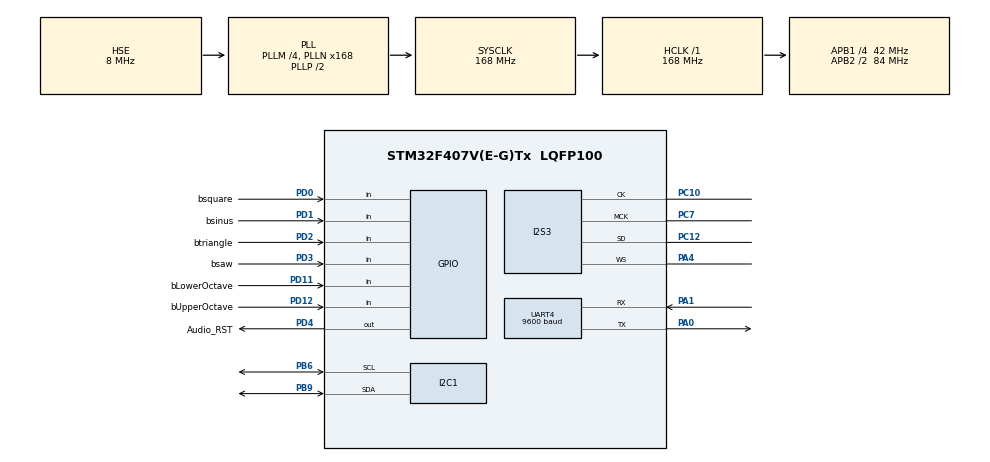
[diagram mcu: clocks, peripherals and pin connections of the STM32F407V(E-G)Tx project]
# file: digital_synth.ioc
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Dma.Request0=SPI3_TX
Dma.SPI3_TX.0.Direction=DMA_MEMORY_TO_PERIPH
Dma.SPI3_TX.0.FIFOMode=DMA_FIFOMODE_ENABLE
Dma.SPI3_TX.0.FIFOThreshold=DMA_FIFO_THRESHOLD_FULL
Dma.SPI3_TX.0.Instance=DMA1_Stream5
Dma.SPI3_TX.0.MemBurst=DMA_MBURST_SINGLE
Dma.SPI3_TX.0.MemDataAlignment=DMA_MDATAALIGN_HALFWORD
Dma.SPI3_TX.0.MemInc=DMA_MINC_ENABLE
Dma.SPI3_TX.0.Mode=DMA_CIRCULAR
Dma.SPI3_TX.0.PeriphBurst=DMA_PBURST_SINGLE
Dma.SPI3_TX.0.PeriphDataAlignment=DMA_PDATAALIGN_HALFWORD
Dma.SPI3_TX.0.PeriphInc=DMA_PINC_DISABLE
Dma.SPI3_TX.0.Priority=DMA_PRIORITY_HIGH
I2C1.I2C_Mode=I2C_Fast
I2S3.AudioFreq=I2S_AUDIOFREQ_48K
I2S3.ErrorAudioFreq=1.72 %
I2S3.FullDuplexMode=I2S_FULLDUPLEXMODE_DISABLE
I2S3.Instance=SPI$Index
I2S3.RealAudioFreq=48.828 KHz
I2S3.VirtualMode=I2S_MODE_MASTER
Mcu.Family=STM32F4
Mcu.Name=STM32F407V(E-G)Tx
Mcu.Package=LQFP100
NVIC.DMA1_Stream5_IRQn=true\:0\:0\:false\:false\:true\:false\:true\:true
NVIC.PriorityGroup=NVIC_PRIORITYGROUP_0
NVIC.UART4_IRQn=true\:0\:0\:false\:false\:true\:true\:true\:true
PA0-WKUP.Mode=Asynchronous
PA0-WKUP.Signal=UART4_TX
PA1.Mode=Asynchronous
PA1.Signal=UART4_RX
PA4.Mode=Half_Duplex_Master
PA4.Signal=I2S3_WS
PB6.Mode=I2C
PB6.Signal=I2C1_SCL
PB9.Mode=I2C
PB9.Signal=I2C1_SDA
PC10.Mode=Half_Duplex_Master
PC10.Signal=I2S3_CK
PC12.Mode=Half_Duplex_Master
PC12.Signal=I2S3_SD
PC7.Mode=Master_Clock_Activated
PC7.Signal=I2S3_MCK
PD0.GPIO_Label=bsquare
PD0.GPIO_PuPd=GPIO_PULLDOWN
PD0.Signal=GPIO_Input
PD1.GPIO_Label=bsinus
PD1.GPIO_PuPd=GPIO_PULLDOWN
PD1.Signal=GPIO_Input
PD11.GPIO_Label=bLowerOctave
PD11.GPIO_PuPd=GPIO_PULLDOWN
PD11.Signal=GPIO_Input
PD12.GPIO_Label=bUpperOctave
PD12.GPIO_PuPd=GPIO_PULLDOWN
PD12.Signal=GPIO_Input
PD2.GPIO_Label=btriangle
PD2.GPIO_PuPd=GPIO_PULLDOWN
PD2.Signal=GPIO_Input
PD3.GPIO_Label=bsaw
PD3.GPIO_PuPd=GPIO_PULLDOWN
PD3.Signal=GPIO_Input
PD4.GPIO_Label=Audio_RST
PD4.Signal=GPIO_Output
PH0-OSC_IN.Mode=HSE-External-Oscillator
PH0-OSC_IN.Signal=RCC_OSC_IN
PH1-OSC_OUT.Mode=HSE-External-Oscillator
PH1-OSC_OUT.Signal=RCC_OSC_OUT
ProjectManager.HeapSize=0x200
ProjectManager.StackSize=0x400
ProjectManager.TargetToolchain=STM32CubeIDE
RCC.48MHZClocksFreq_Value=48000000
RCC.AHBFreq_Value=168000000
RCC.APB1CLKDivider=RCC_HCLK_DIV4
RCC.APB1Freq_Value=42000000
RCC.APB1TimFreq_Value=84000000
RCC.APB2CLKDivider=RCC_HCLK_DIV2
RCC.APB2Freq_Value=84000000
RCC.APB2TimFreq_Value=168000000
RCC.CortexFreq_Value=168000000
RCC.HCLKFreq_Value=168000000
RCC.HSE_VALUE=8000000
RCC.HSI_VALUE=16000000
RCC.LSE_VALUE=32768
RCC.PLLI2SN=50
RCC.PLLM=4
RCC.PLLN=168
RCC.PLLQ=7
RCC.PLLSourceVirtual=RCC_PLLSOURCE_HSE
RCC.SYSCLKFreq_VALUE=168000000
RCC.SYSCLKSource=RCC_SYSCLKSOURCE_PLLCLK
RCC.VCOOutputFreq_Value=336000000
UART4.BaudRate=9600
UART4.VirtualMode=Asynchronous
board=STM32F407G-DISC1

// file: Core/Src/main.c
/* USER CODE BEGIN Header */
/**
  ******************************************************************************
  * @file           : main.c
  * @brief          : Main program body
  ******************************************************************************
  */
/* USER CODE END Header */
#include "main.h"

/* USER CODE BEGIN Includes */
#include <string.h>
#include <stdio.h>
#include <math.h>
#include "MY_CS43L22.h"
/* USER CODE END Includes */

/* USER CODE BEGIN PD */
#define NUMBER_OF_FRAMES_PER_HALF 32  // 32 samples (left+right) for each call
#define TOTAL_BUFFER_SIZE (NUMBER_OF_FRAMES_PER_HALF * 2 * 2) // 32 frames * 2 (L/R) * 2 (halves) = 128 values
#define WAVE_AMPLITUDE 16000
#define PIPI 6.2831853
#define LUT_BITS 12
#define SAMPLE_NUMBER_LUT (1 << LUT_BITS) // can hear a small harmonic distortion for value < 4096 => maybe something to improve
#define FP_SHIFT_AMOUNT (32 - LUT_BITS)
/* USER CODE END PD */

I2C_HandleTypeDef hi2c1;

I2S_HandleTypeDef hi2s3;
DMA_HandleTypeDef hdma_spi3_tx;

UART_HandleTypeDef huart4;

/* USER CODE BEGIN PV */
static int16_t dmaAudioBuffer[TOTAL_BUFFER_SIZE]; // double buffering --> we modify one half while the other half is being processed by the DMA (= automatically enable circucal mode)
Oscillator_t osc1;

/* USER CODE END PV */

void SystemClock_Config(void);
static void MX_GPIO_Init(void);
static void MX_DMA_Init(void);
static void MX_UART4_Init(void);
static void MX_I2C1_Init(void);
static void MX_I2S3_Init(void);

/* USER CODE BEGIN 0 */

// used for debugging to print values on pc console with uart
int __io_putchar(int ch)
{
	HAL_UART_Transmit(&huart4, (uint8_t*) &ch, 1, HAL_MAX_DELAY);
	return ch;
}

Waveform_t getUserWaveform(void)
{
    if (HAL_GPIO_ReadPin(bsinus_GPIO_Port, bsinus_Pin))
    {
    	return SINUS;
    }
    else if (HAL_GPIO_ReadPin(btriangle_GPIO_Port, btriangle_Pin))
    {
    	return TRIANGLE;
    }
    else if (HAL_GPIO_ReadPin(bsaw_GPIO_Port, bsaw_Pin))
    {
    	return SAWTOOTH;
    }
    else if (HAL_GPIO_ReadPin(bsquare_GPIO_Port, bsquare_Pin))
    {
    	return SQUARE;
    }
    else
    {
    	return NONE;
    }
}

uint32_t computePhaseIncrement(float wantedWaveFrequency, I2S_HandleTypeDef *hi2s){
	return (uint32_t)(((double)wantedWaveFrequency / (double)hi2s->Init.AudioFreq) * 4294967296.0); // 4294967296.0 = 2^32
}

void feedDMAAudioBuffer(int16_t *buffer, uint16_t num_frames){
	const float antipopFactor = 0.001;
	uint8_t noteButtonPressed = HAL_GPIO_ReadPin(bLowerOctave_GPIO_Port, bLowerOctave_Pin) || HAL_GPIO_ReadPin(bUpperOctave_GPIO_Port, bUpperOctave_Pin);

	for(uint16_t i = 0; i < num_frames; i++){
		if(noteButtonPressed){
			if(osc1.volume <= 1.0){
				osc1.volume += antipopFactor;
			}
			else{
				osc1.volume = 1.0;
			}
		}
		else{
			if(osc1.volume > 0.0){
				osc1.volume -= antipopFactor;
			}
			else{
				osc1.volume = 0.0;
			}
		}

		buffer[2*i] = osc1.activeLookupTable[osc1.phase >> FP_SHIFT_AMOUNT] * osc1.volume;
		buffer[2*i+1] = osc1.activeLookupTable[osc1.phase >> FP_SHIFT_AMOUNT] * osc1.volume;

		osc1.phase += osc1.phaseIncrement;
	}
}

void HAL_I2S_TxHalfCpltCallback(I2S_HandleTypeDef *hi2s){
	feedDMAAudioBuffer(&dmaAudioBuffer[0], NUMBER_OF_FRAMES_PER_HALF);
}

void HAL_I2S_TxCpltCallback(I2S_HandleTypeDef *hi2s){
	feedDMAAudioBuffer(&dmaAudioBuffer[TOTAL_BUFFER_SIZE / 2], NUMBER_OF_FRAMES_PER_HALF);
}

void feedSinewaveTable(int16_t* sinusLookupTable, uint16_t tableSize, int32_t waveAmplitude) {
	for (uint16_t i = 0; i < tableSize; i++) {
		sinusLookupTable[i] = (int16_t) (waveAmplitude * sin(i * PIPI / tableSize));
	}
}

void feedTriangleTable(int16_t* triangleLookupTable, uint16_t tableSize, int32_t waveAmplitude) {
	// generate a lookup table for a triangle
	//we slice one period of the triangle in three equations y = ax + b
	// y --> tab[i]
	// x --> i
	// b --> wave_amplitude
	// in each calculation, I have to do the multiplication first and then the division.
	// if I do the division first, the decimal part will be lost early (because we use integers) and the error will "snowball" with the multiplication.
	// This will lead to have bad values at the extremes points (or not really precise as we want).
	// Bit shifting is used to avoid some divisions.

	const uint16_t quarterOfTheWave = tableSize >> 2;
	const uint16_t halfOfTheWave = tableSize >> 1;
	const uint16_t threeQuartersOfTheWave = quarterOfTheWave + halfOfTheWave;

	for (uint16_t i = 0; i < tableSize; i++) {
		if (i < quarterOfTheWave) {
			triangleLookupTable[i] = (waveAmplitude * i) / quarterOfTheWave;
		} else if (i < threeQuartersOfTheWave) {
			triangleLookupTable[i] = - waveAmplitude * (i - quarterOfTheWave) / quarterOfTheWave + waveAmplitude;
		} else {
			triangleLookupTable[i] = waveAmplitude * (i - threeQuartersOfTheWave) / quarterOfTheWave - waveAmplitude;
		}
	}
}

void feedSawtoothTable(int16_t* sawtoothLookupTable, uint16_t tableSize, int32_t waveAmplitude) {
	// generate sawtooth table
	for (uint16_t i = 0; i < tableSize; i++) {
		sawtoothLookupTable[i] = (2 * waveAmplitude * i) / tableSize - waveAmplitude;
	}
}

void feedSquareTable(int16_t* squareLookupTable, uint16_t tableSize, int32_t waveAmplitude) {
	const uint16_t halfOfTheWave = tableSize >> 1;
	for (uint16_t i = 0; i < tableSize; i++) {
		if (i < halfOfTheWave) {
			squareLookupTable[i] = waveAmplitude;
		} else {
			squareLookupTable[i] = -waveAmplitude;
		}
	}
}

/* USER CODE END 0 */

int main(void)
{
  /* USER CODE BEGIN 1 */
  Waveform_t selectedWaveform;
  const char* waveformsAvailable[] = {
      "NONE\r\n",
      "SINUS\r\n",
      "TRIANGLE\r\n",
      "SAW\r\n",
      "SQUARE\r\n"
  };
  int16_t sineLookupTable[SAMPLE_NUMBER_LUT];
  int16_t triangleLookupTable[SAMPLE_NUMBER_LUT];
  int16_t sawtoothLookupTable[SAMPLE_NUMBER_LUT];
  int16_t squareLookupTable[SAMPLE_NUMBER_LUT];
  /* USER CODE END 1 */

  /* MCU Configuration--------------------------------------------------------*/

  /* Reset of all peripherals, Initializes the Flash interface and the Systick. */
  HAL_Init();

  /* Configure the system clock */
  SystemClock_Config();

  /* Initialize all configured peripherals */
  MX_GPIO_Init();
  MX_DMA_Init();
  MX_UART4_Init();
  MX_I2C1_Init();
  MX_I2S3_Init();
  /* USER CODE BEGIN 2 */

  // Configure CS43 audio chip
  CS43_Init(hi2c1, MODE_I2S);
  CS43_SetVolume(1);
  CS43_Enable_RightLeft(CS43_RIGHT_LEFT);
  CS43_Start();

  // create lookup table for the 4 waveforms
  feedSinewaveTable(sineLookupTable, SAMPLE_NUMBER_LUT, WAVE_AMPLITUDE);
  feedTriangleTable(triangleLookupTable, SAMPLE_NUMBER_LUT, WAVE_AMPLITUDE);
  feedSawtoothTable(sawtoothLookupTable, SAMPLE_NUMBER_LUT, WAVE_AMPLITUDE);
  feedSquareTable(squareLookupTable, SAMPLE_NUMBER_LUT, WAVE_AMPLITUDE);

  // init oscillators
  osc1.activeLookupTable = sineLookupTable;
  osc1.detune = 0;
  osc1.frequency = 0.0f;
  osc1.phase = 0;
  osc1.phaseIncrement = 0;
  osc1.volume = 0.0f;
  osc1.waveform = SINUS;

  HAL_I2S_Transmit_DMA(&hi2s3, (uint16_t*) &dmaAudioBuffer, TOTAL_BUFFER_SIZE);

  /* USER CODE END 2 */

  /* Infinite loop */
  /* USER CODE BEGIN WHILE */
  while(1){
    selectedWaveform = getUserWaveform();

    if (selectedWaveform != osc1.waveform && selectedWaveform != NONE){
    	osc1.waveform = selectedWaveform;
        HAL_UART_Transmit(&huart4, (uint8_t*) waveformsAvailable[osc1.waveform], strlen(waveformsAvailable[osc1.waveform]), 10);
    }

	 if(osc1.waveform == SINUS){
		 osc1.activeLookupTable = sineLookupTable;
	 }
	else if(osc1.waveform == TRIANGLE){
		osc1.activeLookupTable = triangleLookupTable;
	}
	else if(osc1.waveform == SAWTOOTH){
		osc1.activeLookupTable = sawtoothLookupTable;
	}
	else{
		osc1.activeLookupTable = squareLookupTable;
	 }

    if(HAL_GPIO_ReadPin(bLowerOctave_GPIO_Port, bLowerOctave_Pin)){
    	osc1.frequency = 523.25;
    	osc1.phaseIncrement = computePhaseIncrement(osc1.frequency, &hi2s3);
    }
    else if(HAL_GPIO_ReadPin(bUpperOctave_GPIO_Port, bUpperOctave_Pin)){
    	osc1.frequency = 783.99;
    	osc1.phaseIncrement = computePhaseIncrement(osc1.frequency, &hi2s3);
    }
  }
    /* USER CODE END WHILE */

}

void SystemClock_Config(void)
{
  RCC_OscInitTypeDef RCC_OscInitStruct = {0};
  RCC_ClkInitTypeDef RCC_ClkInitStruct = {0};

  /** Configure the main internal regulator output voltage
  */
  __HAL_RCC_PWR_CLK_ENABLE();
  __HAL_PWR_VOLTAGESCALING_CONFIG(PWR_REGULATOR_VOLTAGE_SCALE1);

  /** Initializes the RCC Oscillators according to the specified parameters
  * in the RCC_OscInitTypeDef structure.
  */
  RCC_OscInitStruct.OscillatorType = RCC_OSCILLATORTYPE_HSE;
  RCC_OscInitStruct.HSEState = RCC_HSE_ON;
  RCC_OscInitStruct.PLL.PLLState = RCC_PLL_ON;
  RCC_OscInitStruct.PLL.PLLSource = RCC_PLLSOURCE_HSE;
  RCC_OscInitStruct.PLL.PLLM = 4;
  RCC_OscInitStruct.PLL.PLLN = 168;
  RCC_OscInitStruct.PLL.PLLP = RCC_PLLP_DIV2;
  RCC_OscInitStruct.PLL.PLLQ = 7;
  if (HAL_RCC_OscConfig(&RCC_OscInitStruct) != HAL_OK)
  {
    Error_Handler();
  }

  /** Initializes the CPU, AHB and APB buses clocks
  */
  RCC_ClkInitStruct.ClockType = RCC_CLOCKTYPE_HCLK|RCC_CLOCKTYPE_SYSCLK
                              |RCC_CLOCKTYPE_PCLK1|RCC_CLOCKTYPE_PCLK2;
  RCC_ClkInitStruct.SYSCLKSource = RCC_SYSCLKSOURCE_PLLCLK;
  RCC_ClkInitStruct.AHBCLKDivider = RCC_SYSCLK_DIV1;
  RCC_ClkInitStruct.APB1CLKDivider = RCC_HCLK_DIV4;
  RCC_ClkInitStruct.APB2CLKDivider = RCC_HCLK_DIV2;

  if (HAL_RCC_ClockConfig(&RCC_ClkInitStruct, FLASH_LATENCY_5) != HAL_OK)
  {
    Error_Handler();
  }
}

static void MX_I2C1_Init(void)
{

  hi2c1.Instance = I2C1;
  hi2c1.Init.ClockSpeed = 400000;
  hi2c1.Init.DutyCycle = I2C_DUTYCYCLE_2;
  hi2c1.Init.OwnAddress1 = 0;
  hi2c1.Init.AddressingMode = I2C_ADDRESSINGMODE_7BIT;
  hi2c1.Init.DualAddressMode = I2C_DUALADDRESS_DISABLE;
  hi2c1.Init.OwnAddress2 = 0;
  hi2c1.Init.GeneralCallMode = I2C_GENERALCALL_DISABLE;
  hi2c1.Init.NoStretchMode = I2C_NOSTRETCH_DISABLE;
  if (HAL_I2C_Init(&hi2c1) != HAL_OK)
  {
    Error_Handler();
  }

}

static void MX_I2S3_Init(void)
{

  hi2s3.Instance = SPI3;
  hi2s3.Init.Mode = I2S_MODE_MASTER_TX;
  hi2s3.Init.Standard = I2S_STANDARD_PHILIPS;
  hi2s3.Init.DataFormat = I2S_DATAFORMAT_16B;
  hi2s3.Init.MCLKOutput = I2S_MCLKOUTPUT_ENABLE;
  hi2s3.Init.AudioFreq = I2S_AUDIOFREQ_48K;
  hi2s3.Init.CPOL = I2S_CPOL_LOW;
  hi2s3.Init.ClockSource = I2S_CLOCK_PLL;
  hi2s3.Init.FullDuplexMode = I2S_FULLDUPLEXMODE_DISABLE;
  if (HAL_I2S_Init(&hi2s3) != HAL_OK)
  {
    Error_Handler();
  }

}

static void MX_UART4_Init(void)
{

  huart4.Instance = UART4;
  huart4.Init.BaudRate = 9600;
  huart4.Init.WordLength = UART_WORDLENGTH_8B;
  huart4.Init.StopBits = UART_STOPBITS_1;
  huart4.Init.Parity = UART_PARITY_NONE;
  huart4.Init.Mode = UART_MODE_TX_RX;
  huart4.Init.HwFlowCtl = UART_HWCONTROL_NONE;
  huart4.Init.OverSampling = UART_OVERSAMPLING_16;
  if (HAL_UART_Init(&huart4) != HAL_OK)
  {
    Error_Handler();
  }

}

static void MX_DMA_Init(void)
{

  /* DMA controller clock enable */
  __HAL_RCC_DMA1_CLK_ENABLE();

  /* DMA interrupt init */
  /* DMA1_Stream5_IRQn interrupt configuration */
  HAL_NVIC_SetPriority(DMA1_Stream5_IRQn, 0, 0);
  HAL_NVIC_EnableIRQ(DMA1_Stream5_IRQn);

}

static void MX_GPIO_Init(void)
{
  GPIO_InitTypeDef GPIO_InitStruct = {0};

  /* GPIO Ports Clock Enable */
  __HAL_RCC_GPIOH_CLK_ENABLE();
  __HAL_RCC_GPIOA_CLK_ENABLE();
  __HAL_RCC_GPIOD_CLK_ENABLE();
  __HAL_RCC_GPIOC_CLK_ENABLE();
  __HAL_RCC_GPIOB_CLK_ENABLE();

  /*Configure GPIO pin Output Level */
  HAL_GPIO_WritePin(Audio_RST_GPIO_Port, Audio_RST_Pin, GPIO_PIN_RESET);

  /*Configure GPIO pins : bLowerOctave_Pin bUpperOctave_Pin bsquare_Pin bsinus_Pin
                           btriangle_Pin bsaw_Pin */
  GPIO_InitStruct.Pin = bLowerOctave_Pin|bUpperOctave_Pin|bsquare_Pin|bsinus_Pin
                          |btriangle_Pin|bsaw_Pin;
  GPIO_InitStruct.Mode = GPIO_MODE_INPUT;
  GPIO_InitStruct.Pull = GPIO_PULLDOWN;
  HAL_GPIO_Init(GPIOD, &GPIO_InitStruct);

  /*Configure GPIO pin : Audio_RST_Pin */
  GPIO_InitStruct.Pin = Audio_RST_Pin;
  GPIO_InitStruct.Mode = GPIO_MODE_OUTPUT_PP;
  GPIO_InitStruct.Pull = GPIO_NOPULL;
  GPIO_InitStruct.Speed = GPIO_SPEED_FREQ_LOW;
  HAL_GPIO_Init(Audio_RST_GPIO_Port, &GPIO_InitStruct);

}

/* USER CODE BEGIN 4 */
void HAL_GPIO_EXTI_Callback(uint16_t GPIO_Pin)
{

}
/* USER CODE END 4 */

void Error_Handler(void)
{
  __disable_irq();
  while (1)
  {
  }
}
